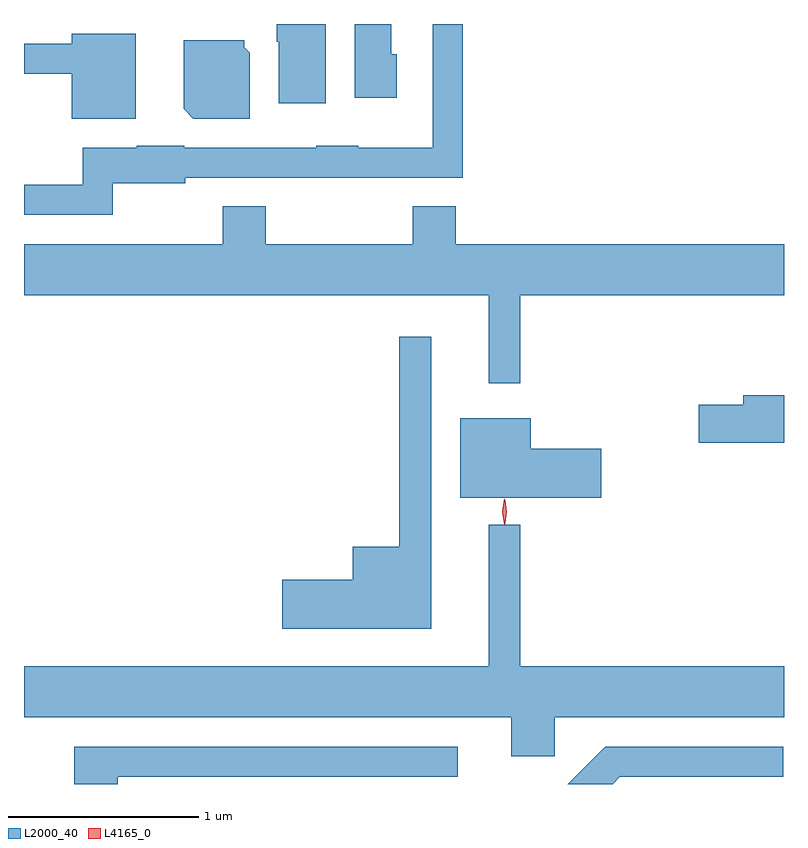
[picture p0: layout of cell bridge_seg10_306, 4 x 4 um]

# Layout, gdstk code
import gdstk
lib = gdstk.Library(unit=1e-6, precision=1e-09)
def P(c, l, *ps):  # polygons
    for p in ps: c.add(gdstk.Polygon(p, *l))
L2000_40 = (2000, 40)
L4165_0 = (4165, 0)

bridge_seg10_306 = lib.new_cell('bridge_seg10_306')
P(bridge_seg10_306, L2000_40, [(1390.644,2193.044),(1390.386,2193.044),(1390.386,2192.95),(1390.396,2192.95),(1390.396,2192.626),(1390.644,2192.626)],
  [(1391.019,2192.884),(1390.989,2192.884),(1390.989,2193.044),(1390.796,2193.044),(1390.796,2192.656),(1391.019,2192.656)],
  [(1389.524,2192.206),(1389.904,2192.206),(1389.904,2192.236),(1391.364,2192.236),(1391.364,2193.044),(1391.206,2193.044),(1391.206,2192.394),(1390.815,2192.394),(1390.815,2192.404),(1390.595,2192.404),(1390.595,2192.394),(1389.9,2192.394),(1389.9,2192.404),(1389.65,2192.404),(1389.65,2192.394),(1389.366,2192.394),(1389.366,2192.199),(1389.056,2192.199),(1389.056,2192.041),(1389.524,2192.041)],
  [(1389.644,2192.994),(1389.306,2192.994),(1389.306,2192.939),(1389.056,2192.939),(1389.056,2192.781),(1389.306,2192.781),(1389.306,2192.546),(1389.644,2192.546)],
  [(1390.244,2192.892),(1390.214,2192.922),(1390.214,2192.959),(1389.896,2192.959),(1389.896,2192.597),(1389.947,2192.546),(1390.244,2192.546)],
  [(1391.669,2191.616),(1393.056,2191.616),(1393.056,2191.884),(1391.329,2191.884),(1391.329,2192.084),(1391.101,2192.084),(1391.101,2191.884),(1390.329,2191.884),(1390.329,2192.084),(1390.101,2192.084),(1390.101,2191.884),(1389.056,2191.884),(1389.056,2191.616),(1391.501,2191.616),(1391.501,2191.153),(1391.669,2191.153)],
  [(1391.199,2191.398),(1391.031,2191.398),(1391.031,2190.294),(1390.786,2190.294),(1390.786,2190.119),(1390.416,2190.119),(1390.416,2189.861),(1391.199,2189.861)],
  [(1393.056,2191.089),(1392.841,2191.089),(1392.841,2191.039),(1392.606,2191.039),(1392.606,2190.841),(1393.056,2190.841)],
  [(1392.094,2190.809),(1391.724,2190.809),(1391.724,2190.969),(1391.351,2190.969),(1391.351,2190.551),(1392.094,2190.551)],
  [(1391.849,2189.396),(1393.056,2189.396),(1393.056,2189.664),(1391.669,2189.664),(1391.669,2190.408),(1391.501,2190.408),(1391.501,2189.664),(1389.056,2189.664),(1389.056,2189.396),(1391.621,2189.396),(1391.621,2189.191),(1391.849,2189.191)],
  [(1392.192,2189.081),(1393.053,2189.081),(1393.053,2189.239),(1392.114,2189.239),(1391.919,2189.044),(1392.155,2189.044)],
  [(1389.549,2189.081),(1391.338,2189.081),(1391.338,2189.239),(1389.321,2189.239),(1389.321,2189.044),(1389.549,2189.044)])
P(bridge_seg10_306, L4165_0, [(1391.584,2190.41),(1391.574,2190.478),(1391.583,2190.546),(1391.584,2190.546),(1391.584,2190.546),(1391.594,2190.478),(1391.586,2190.41),(1391.585,2190.41)],
  [(1391.587,2190.413),(1391.586,2190.414),(1391.577,2190.476),(1391.586,2190.539),(1391.587,2190.54),(1391.588,2190.539),(1391.597,2190.476),(1391.588,2190.414)])

lib.write_gds('bridge_seg10_306.gds')
